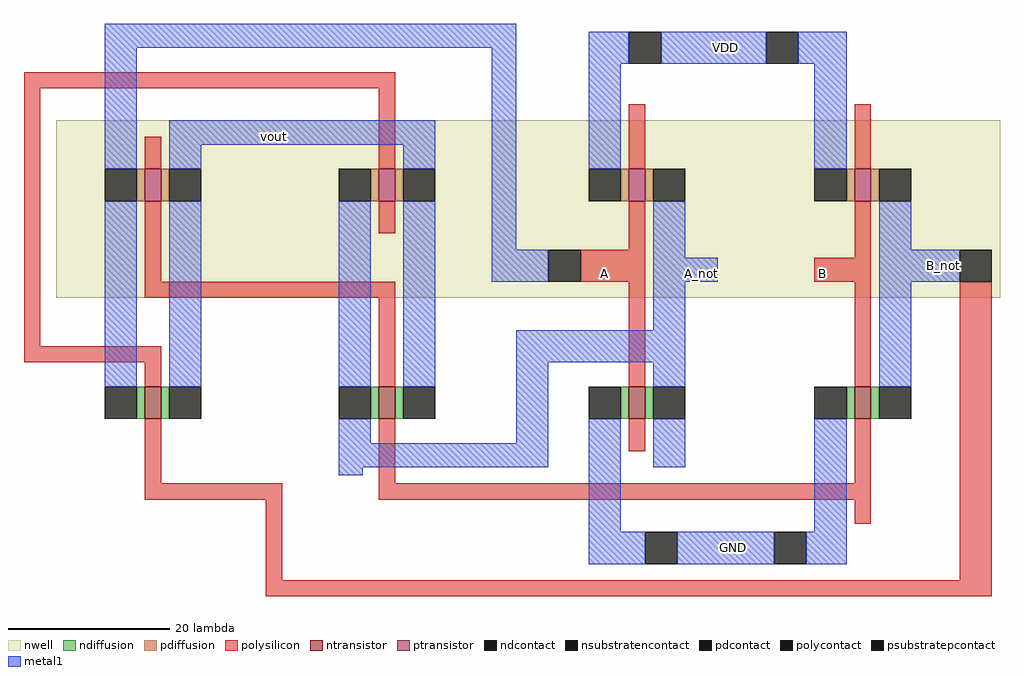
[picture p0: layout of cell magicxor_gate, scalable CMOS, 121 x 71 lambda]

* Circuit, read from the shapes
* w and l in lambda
.subckt magicxor_gate A A_not B B_not GND VDD vout
M1 vout B_not A GND nfet w=4 l=2
M2 vout B A_not GND nfet w=4 l=2
M3 A_not A GND GND nfet w=4 l=2
M4 B_not B GND GND nfet w=4 l=2
M5 vout B A n1 pfet w=4 l=2
M6 vout B_not A_not n1 pfet w=4 l=2
M7 A_not A VDD n1 pfet w=4 l=2
M8 B_not B VDD n1 pfet w=4 l=2
.ends

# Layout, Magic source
magic
tech scmos
<< nwell >>
rect -91 5 26 27
<< ntransistor >>
rect -80 -10 -78 -6
rect -51 -10 -49 -6
rect -20 -10 -18 -6
rect 8 -10 10 -6
<< ptransistor >>
rect -80 17 -78 21
rect -51 17 -49 21
rect -20 17 -18 21
rect 8 17 10 21
<< ndiffusion >>
rect -81 -10 -80 -6
rect -78 -10 -77 -6
rect -52 -10 -51 -6
rect -49 -10 -48 -6
rect -21 -10 -20 -6
rect -18 -10 -17 -6
rect 7 -10 8 -6
rect 10 -10 11 -6
<< pdiffusion >>
rect -81 17 -80 21
rect -78 17 -77 21
rect -52 17 -51 21
rect -49 17 -48 21
rect -21 17 -20 21
rect -18 17 -17 21
rect 7 17 8 21
rect 10 17 11 21
<< ndcontact >>
rect -85 -10 -81 -6
rect -77 -10 -73 -6
rect -56 -10 -52 -6
rect -48 -10 -44 -6
rect -25 -10 -21 -6
rect -17 -10 -13 -6
rect 3 -10 7 -6
rect 11 -10 15 -6
<< pdcontact >>
rect -85 17 -81 21
rect -77 17 -73 21
rect -56 17 -52 21
rect -48 17 -44 21
rect -25 17 -21 21
rect -17 17 -13 21
rect 3 17 7 21
rect 11 17 15 21
<< psubstratepcontact >>
rect -18 -28 -14 -24
rect -2 -28 2 -24
<< nsubstratencontact >>
rect -20 34 -16 38
rect -3 34 1 38
<< polysilicon >>
rect -95 31 -49 33
rect -95 -1 -93 31
rect -80 21 -78 25
rect -51 21 -49 31
rect -20 21 -18 29
rect 8 21 10 29
rect -80 7 -78 17
rect -51 13 -49 17
rect -20 11 -18 17
rect -26 7 -18 11
rect 8 10 10 17
rect 3 7 10 10
rect -80 5 -49 7
rect -95 -3 -78 -1
rect -80 -6 -78 -3
rect -51 -6 -49 5
rect -20 -6 -18 7
rect 8 -6 10 7
rect -80 -18 -78 -10
rect -51 -18 -49 -10
rect -20 -14 -18 -10
rect 8 -18 10 -10
rect -80 -20 -63 -18
rect -51 -20 10 -18
rect -65 -30 -63 -20
rect 8 -23 10 -20
rect 21 -30 25 7
rect -65 -32 25 -30
<< polycontact >>
rect -30 7 -26 11
rect 21 7 25 11
<< metal1 >>
rect -85 36 -34 39
rect -85 21 -81 36
rect -85 -6 -81 17
rect -77 24 -44 27
rect -77 21 -73 24
rect -48 21 -44 24
rect -77 -6 -73 17
rect -56 -6 -52 17
rect -48 -6 -44 17
rect -37 11 -34 36
rect -25 34 -20 38
rect -16 34 -3 38
rect 1 34 7 38
rect -25 21 -21 34
rect 3 21 7 34
rect -37 7 -30 11
rect -17 10 -13 17
rect 11 11 15 17
rect -17 7 -9 10
rect 11 7 21 11
rect -17 1 -13 7
rect -34 -3 -13 1
rect -56 -13 -52 -10
rect -34 -13 -30 -3
rect -17 -6 -13 -3
rect 11 -6 15 7
rect -56 -16 -30 -13
rect -56 -17 -53 -16
rect -25 -24 -21 -10
rect -17 -16 -13 -10
rect 3 -24 7 -10
rect -25 -28 -18 -24
rect -14 -28 -2 -24
rect 2 -28 7 -24
<< labels >>
rlabel polysilicon -23 8 -23 8 1 A
rlabel metal1 -11 8 -11 8 1 A_not
rlabel polysilicon 4 8 4 8 1 B
rlabel metal1 19 9 19 9 7 B_not
rlabel metal1 -64 25 -64 25 1 vout
rlabel metal1 -8 36 -8 36 5 VDD
rlabel metal1 -7 -26 -7 -26 1 GND
<< end >>
